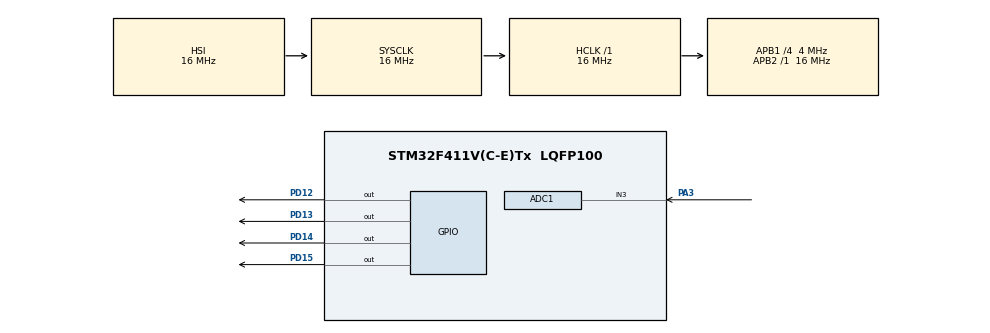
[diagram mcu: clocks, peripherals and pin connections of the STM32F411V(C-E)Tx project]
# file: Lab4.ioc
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ADC1.Channel-0\#ChannelRegularConversion=ADC_CHANNEL_3
ADC1.ClockPrescaler=ADC_CLOCK_SYNC_PCLK_DIV8
ADC1.NbrOfConversionFlag=1
ADC1.Rank-0\#ChannelRegularConversion=1
ADC1.SamplingTime-0\#ChannelRegularConversion=ADC_SAMPLETIME_480CYCLES
ADC1.master=1
Mcu.Family=STM32F4
Mcu.Name=STM32F411V(C-E)Tx
Mcu.Package=LQFP100
NVIC.ADC_IRQn=true\:0\:0\:false\:false\:true\:true\:true\:true
NVIC.PriorityGroup=NVIC_PRIORITYGROUP_0
PA3.Signal=ADCx_IN3
PD12.Signal=GPIO_Output
PD13.Signal=GPIO_Output
PD14.Signal=GPIO_Output
PD15.Signal=GPIO_Output
ProjectManager.HeapSize=0x200
ProjectManager.StackSize=0x400
ProjectManager.TargetToolchain=STM32CubeIDE
RCC.48MHZClocksFreq_Value=96000000
RCC.AHBFreq_Value=16000000
RCC.APB1CLKDivider=RCC_HCLK_DIV4
RCC.APB1Freq_Value=4000000
RCC.APB1TimFreq_Value=8000000
RCC.APB2Freq_Value=16000000
RCC.APB2TimFreq_Value=16000000
RCC.CortexFreq_Value=16000000
RCC.HCLKFreq_Value=16000000
RCC.HSE_VALUE=8000000
RCC.HSI_VALUE=16000000
RCC.PLLI2SM=5
RCC.PLLI2SN=200
RCC.PLLM=4
RCC.PLLP=RCC_PLLP_DIV4
RCC.PLLQ=8
RCC.SYSCLKFreq_VALUE=16000000
RCC.VCOOutputFreq_Value=768000000
SH.ADCx_IN3.0=ADC1_IN3,IN3
board=STM32F411E-DISCO

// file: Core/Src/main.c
/* USER CODE BEGIN Header */
/**
  ******************************************************************************
  * @file           : main.c
  * @brief          : Main program body
  ******************************************************************************
  * @attention
  *
  * Copyright (c) 2023 STMicroelectronics.
  * All rights reserved.
  *
  * This software is licensed under terms that can be found in the LICENSE file
  * in the root directory of this software component.
  * If no LICENSE file comes with this software, it is provided AS-IS.
  *
  ******************************************************************************
  */
/* USER CODE END Header */
#include "main.h"

ADC_HandleTypeDef hadc1;

void SystemClock_Config(void);
static void MX_GPIO_Init(void);
static void MX_ADC1_Init(void);
/* USER CODE BEGIN PFP */

void HAL_ADC_ConvCpltCallback(ADC_HandleTypeDef* hadc)
{
  uint32_t adcValue;

  if(hadc->Instance == ADC1)
  {
        adcValue = HAL_ADC_GetValue(&hadc1);

        if (adcValue < 819)
        {
            HAL_GPIO_WritePin(GPIOD, GPIO_PIN_12, GPIO_PIN_RESET);
            HAL_GPIO_WritePin(GPIOD, GPIO_PIN_13, GPIO_PIN_RESET);
            HAL_GPIO_WritePin(GPIOD, GPIO_PIN_14, GPIO_PIN_RESET);
            HAL_GPIO_WritePin(GPIOD, GPIO_PIN_15, GPIO_PIN_RESET);
        }
        else if (adcValue < 1638)
        {
            HAL_GPIO_WritePin(GPIOD, GPIO_PIN_12, GPIO_PIN_SET);
            HAL_GPIO_WritePin(GPIOD, GPIO_PIN_13, GPIO_PIN_RESET);
            HAL_GPIO_WritePin(GPIOD, GPIO_PIN_14, GPIO_PIN_RESET);
            HAL_GPIO_WritePin(GPIOD, GPIO_PIN_15, GPIO_PIN_RESET);
        }
        else if (adcValue < 2457)
        {
            HAL_GPIO_WritePin(GPIOD, GPIO_PIN_12, GPIO_PIN_SET);
            HAL_GPIO_WritePin(GPIOD, GPIO_PIN_13, GPIO_PIN_SET);
            HAL_GPIO_WritePin(GPIOD, GPIO_PIN_14, GPIO_PIN_RESET);
            HAL_GPIO_WritePin(GPIOD, GPIO_PIN_15, GPIO_PIN_RESET);
        }
        else if (adcValue < 3276)
        {
            HAL_GPIO_WritePin(GPIOD, GPIO_PIN_12, GPIO_PIN_SET);
            HAL_GPIO_WritePin(GPIOD, GPIO_PIN_13, GPIO_PIN_SET);
            HAL_GPIO_WritePin(GPIOD, GPIO_PIN_14, GPIO_PIN_SET);
            HAL_GPIO_WritePin(GPIOD, GPIO_PIN_15, GPIO_PIN_RESET);
        }
        else
        {
            HAL_GPIO_WritePin(GPIOD, GPIO_PIN_12, GPIO_PIN_SET);
            HAL_GPIO_WritePin(GPIOD, GPIO_PIN_13, GPIO_PIN_SET);
            HAL_GPIO_WritePin(GPIOD, GPIO_PIN_14, GPIO_PIN_RESET);
            HAL_GPIO_WritePin(GPIOD, GPIO_PIN_15, GPIO_PIN_SET);
        }

        HAL_ADC_Start_IT(&hadc1);
  }
}

/* USER CODE END PFP */

int main(void)
{

  /* MCU Configuration--------------------------------------------------------*/

  /* Reset of all peripherals, Initializes the Flash interface and the Systick. */
  HAL_Init();

  /* Configure the system clock */
  SystemClock_Config();

  /* Initialize all configured peripherals */
  MX_GPIO_Init();
  MX_ADC1_Init();
  /* USER CODE BEGIN 2 */

  HAL_ADC_Start_IT(&hadc1);

  /* USER CODE END 2 */

  /* Infinite loop */
  while (1)
  {

  }
}

void SystemClock_Config(void)
{
  RCC_OscInitTypeDef RCC_OscInitStruct = {0};
  RCC_ClkInitTypeDef RCC_ClkInitStruct = {0};

  /** Configure the main internal regulator output voltage
  */
  __HAL_RCC_PWR_CLK_ENABLE();
  __HAL_PWR_VOLTAGESCALING_CONFIG(PWR_REGULATOR_VOLTAGE_SCALE1);

  /** Initializes the RCC Oscillators according to the specified parameters
  * in the RCC_OscInitTypeDef structure.
  */
  RCC_OscInitStruct.OscillatorType = RCC_OSCILLATORTYPE_HSI;
  RCC_OscInitStruct.HSIState = RCC_HSI_ON;
  RCC_OscInitStruct.HSICalibrationValue = RCC_HSICALIBRATION_DEFAULT;
  RCC_OscInitStruct.PLL.PLLState = RCC_PLL_NONE;
  if (HAL_RCC_OscConfig(&RCC_OscInitStruct) != HAL_OK)
  {
    Error_Handler();
  }

  /** Initializes the CPU, AHB and APB buses clocks
  */
  RCC_ClkInitStruct.ClockType = RCC_CLOCKTYPE_HCLK|RCC_CLOCKTYPE_SYSCLK
                              |RCC_CLOCKTYPE_PCLK1|RCC_CLOCKTYPE_PCLK2;
  RCC_ClkInitStruct.SYSCLKSource = RCC_SYSCLKSOURCE_HSI;
  RCC_ClkInitStruct.AHBCLKDivider = RCC_SYSCLK_DIV1;
  RCC_ClkInitStruct.APB1CLKDivider = RCC_HCLK_DIV4;
  RCC_ClkInitStruct.APB2CLKDivider = RCC_HCLK_DIV1;

  if (HAL_RCC_ClockConfig(&RCC_ClkInitStruct, FLASH_LATENCY_0) != HAL_OK)
  {
    Error_Handler();
  }
}

static void MX_ADC1_Init(void)
{

  ADC_ChannelConfTypeDef sConfig = {0};

  /** Configure the global features of the ADC (Clock, Resolution, Data Alignment and number of conversion)
  */
  hadc1.Instance = ADC1;
  hadc1.Init.ClockPrescaler = ADC_CLOCK_SYNC_PCLK_DIV8;
  hadc1.Init.Resolution = ADC_RESOLUTION_12B;
  hadc1.Init.ScanConvMode = DISABLE;
  hadc1.Init.ContinuousConvMode = DISABLE;
  hadc1.Init.DiscontinuousConvMode = DISABLE;
  hadc1.Init.ExternalTrigConvEdge = ADC_EXTERNALTRIGCONVEDGE_NONE;
  hadc1.Init.ExternalTrigConv = ADC_SOFTWARE_START;
  hadc1.Init.DataAlign = ADC_DATAALIGN_RIGHT;
  hadc1.Init.NbrOfConversion = 1;
  hadc1.Init.DMAContinuousRequests = DISABLE;
  hadc1.Init.EOCSelection = ADC_EOC_SINGLE_CONV;
  if (HAL_ADC_Init(&hadc1) != HAL_OK)
  {
    Error_Handler();
  }

  /** Configure for the selected ADC regular channel its corresponding rank in the sequencer and its sample time.
  */
  sConfig.Channel = ADC_CHANNEL_3;
  sConfig.Rank = 1;
  sConfig.SamplingTime = ADC_SAMPLETIME_480CYCLES;
  if (HAL_ADC_ConfigChannel(&hadc1, &sConfig) != HAL_OK)
  {
    Error_Handler();
  }

}

static void MX_GPIO_Init(void)
{
  GPIO_InitTypeDef GPIO_InitStruct = {0};

  /* GPIO Ports Clock Enable */
  __HAL_RCC_GPIOA_CLK_ENABLE();
  __HAL_RCC_GPIOD_CLK_ENABLE();

  /*Configure GPIO pin Output Level */
  HAL_GPIO_WritePin(GPIOD, GPIO_PIN_12|GPIO_PIN_13|GPIO_PIN_14|GPIO_PIN_15, GPIO_PIN_RESET);

  /*Configure GPIO pins : PD12 PD13 PD14 PD15 */
  GPIO_InitStruct.Pin = GPIO_PIN_12|GPIO_PIN_13|GPIO_PIN_14|GPIO_PIN_15;
  GPIO_InitStruct.Mode = GPIO_MODE_OUTPUT_PP;
  GPIO_InitStruct.Pull = GPIO_NOPULL;
  GPIO_InitStruct.Speed = GPIO_SPEED_FREQ_LOW;
  HAL_GPIO_Init(GPIOD, &GPIO_InitStruct);

}

void Error_Handler(void)
{
  __disable_irq();
  while (1)
  {
  }
}
